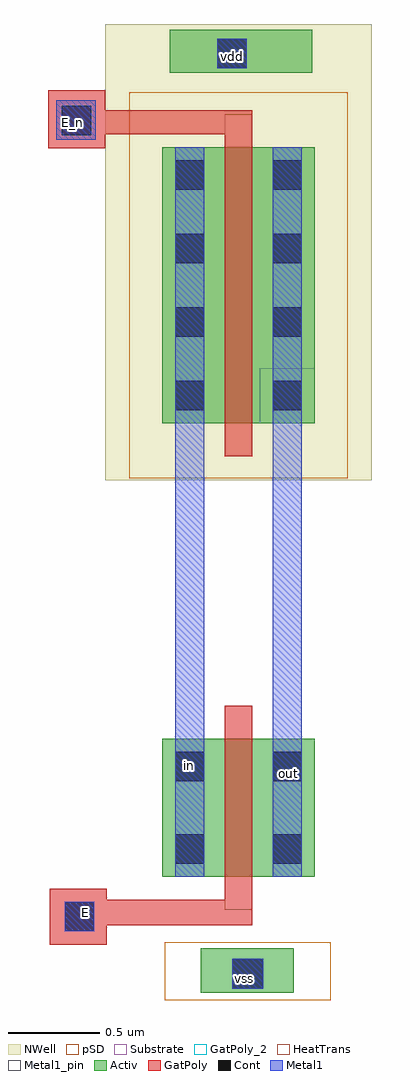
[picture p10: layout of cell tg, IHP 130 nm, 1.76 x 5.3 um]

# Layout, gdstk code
import gdstk
lib = gdstk.Library(unit=1e-6, precision=5e-09)
def R(c, l, rs):  # rectangles x0, y0, x1, y1
    for r in rs: c.add(gdstk.rectangle(r[:2], r[2:], *l))
def A(c, l, x, y, w, h, nx, ny, dx, dy):  # array of equal rectangles
    R(c, l, [(x+i*dx, y+j*dy, x+i*dx+w, y+j*dy+h) for i in range(nx) for j in range(ny)])
Activ = (1, 0)
GatPoly = (5, 0)
GatPoly_2 = (5, 2)
Cont = (6, 0)
Metal1 = (8, 0)
Metal1_pin = (8, 2)
pSD = (14, 0)
NWell = (31, 0)
Substrate = (40, 0)
HeatTrans = (51, 0)

pmos_1 = lib.new_cell('pmos$1')
R(pmos_1, Activ, [(0,0,0.3,0.3), (0,0,0.83,1.5), (0.53,0,0.83,0.3)])
R(pmos_1, GatPoly, [(0.34,-0.18,0.49,1.68), (0.34,-0.18,0.49,1.68)])
A(pmos_1, Cont, 0.07, 0.07, 0.16, 0.16, 1, 4, 0, 0.4)
A(pmos_1, Cont, 0.6, 0.07, 0.16, 0.16, 1, 4, 0, 0.4)
R(pmos_1, Metal1, [(0.07,0,0.23,1.5), (0.07,0,0.23,1.5), (0.6,0,0.76,1.5), (0.6,0,0.76,1.5)])
R(pmos_1, pSD, [(-0.18,-0.3,1.01,1.8)])
R(pmos_1, NWell, [(-0.31,-0.31,1.14,1.81)])
R(pmos_1, Substrate, [(0.53,0,0.83,0.3)])
R(pmos_1, HeatTrans, [(0.34,-0.18,0.49,1.68)])
pmos_1.add(gdstk.Label('pmos', (0.415,0.75), layer=63, texttype=0))
pmos_1.add(gdstk.Label('pmos', (0.415,0.75), layer=51, texttype=0))

nmos_1 = lib.new_cell('nmos$1')
R(nmos_1, Activ, [(0,0,0.3,0.3), (0,0,0.83,0.75), (0.53,0,0.83,0.3)])
R(nmos_1, GatPoly, [(0.34,-0.18,0.49,0.93)])
R(nmos_1, GatPoly_2, [(0.34,-0.18,0.49,0.93)])
R(nmos_1, Cont, [(0.07,0.07,0.23,0.23), (0.6,0.07,0.76,0.23), (0.07,0.52,0.23,0.68), (0.6,0.52,0.76,0.68)])
R(nmos_1, Metal1, [(0.07,0,0.23,0.75), (0.6,0,0.76,0.75)])
R(nmos_1, Metal1_pin, [(0.07,0,0.23,0.75), (0.6,0,0.76,0.75)])
R(nmos_1, HeatTrans, [(0.34,-0.18,0.49,0.93)])
nmos_1.add(gdstk.Label('nmos', (0.415,0.375), layer=63, texttype=0))
nmos_1.add(gdstk.Label('nmos', (0.415,0.375), layer=51, texttype=0))

c_tg = lib.new_cell('tg')
R(c_tg, Activ, [(-0.78,-0.425,-0.275,-0.185), (-0.95,4.575,-0.175,4.81)])
R(c_tg, GatPoly, [(-1.6,-0.165,-1.29,0.14), (-1.29,-0.06,-0.5,0.08), (-1.61,4.165,-1.3,4.48), (-1.3,4.24,-0.5,4.37)])
R(c_tg, Cont, [(-0.61,-0.405,-0.44,-0.24), (-1.52,-0.09,-1.36,0.07), (-1.535,4.235,-1.375,4.395), (-0.69,4.6,-0.53,4.76), (-0.69,4.6,-0.53,4.76)])
R(c_tg, Metal1, [(-0.61,-0.405,-0.44,-0.24), (-1.52,-0.09,-1.36,0.07), (-0.92,0.725,-0.76,0.885), (-0.39,0.725,-0.23,0.885), (-0.92,0.955,-0.76,2.67), (-0.39,0.955,-0.23,2.67), (-1.565,4.21,-1.35,4.425), (-0.69,4.6,-0.53,4.76)])
R(c_tg, Metal1_pin, [(-0.61,-0.405,-0.44,-0.24), (-1.52,-0.09,-1.36,0.07), (-0.92,0.725,-0.76,0.885), (-0.39,0.725,-0.23,0.885), (-1.535,4.235,-1.375,4.395), (-0.69,4.6,-0.53,4.76)])
R(c_tg, pSD, [(-0.975,-0.465,-0.075,-0.15)])
R(c_tg, NWell, [(-1.3,4.48,0.15,4.84)])
c_tg.add(gdstk.Reference(pmos_1, (-0.99,2.67)))
c_tg.add(gdstk.Reference(nmos_1, (-0.99,0.205)))
c_tg.add(gdstk.Label('vdd', (-0.61,4.665), layer=8, texttype=2))
c_tg.add(gdstk.Label('in', (-0.84,0.81), layer=8, texttype=2))
c_tg.add(gdstk.Label('out', (-0.305,0.765), layer=8, texttype=2))
c_tg.add(gdstk.Label('E', (-1.405,0.01), layer=8, texttype=2))
c_tg.add(gdstk.Label('E_n', (-1.48,4.305), layer=8, texttype=2))
c_tg.add(gdstk.Label('vss', (-0.545,-0.35), layer=8, texttype=2))

lib.write_gds('tg.gds')
